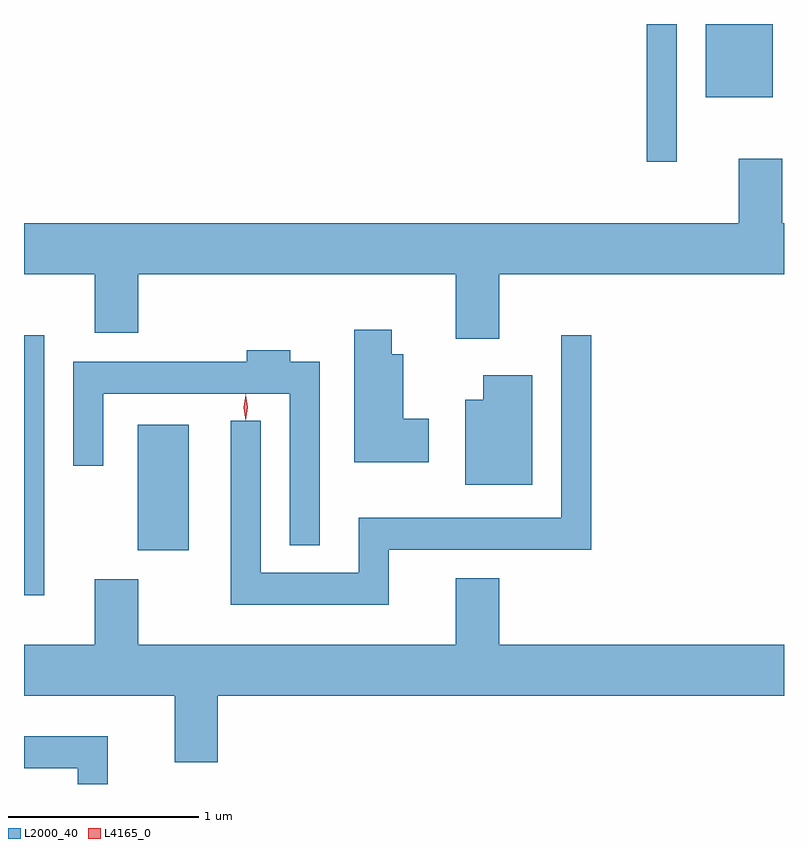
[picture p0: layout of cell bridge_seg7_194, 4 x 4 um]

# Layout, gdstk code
import gdstk
lib = gdstk.Library(unit=1e-6, precision=1e-09)
def R(c, l, rs):  # rectangles x0, y0, x1, y1
    for r in rs: c.add(gdstk.rectangle(r[:2], r[2:], *l))
def P(c, l, *ps):  # polygons
    for p in ps: c.add(gdstk.Polygon(p, *l))
L2000_40 = (2000, 40)
L4165_0 = (4165, 0)

bridge_seg7_194 = lib.new_cell('bridge_seg7_194')
R(bridge_seg7_194, L2000_40, [(1500.418,1701.526,1500.524,1702.893), (1501.016,1701.761,1501.284,1702.424), (1503.696,1703.808,1503.854,1704.532), (1504.006,1704.146,1504.359,1704.532)])
P(bridge_seg7_194, L2000_40, [(1502.919,1703.216),(1504.418,1703.216),(1504.418,1703.484),(1504.409,1703.484),(1504.409,1703.824),(1504.181,1703.824),(1504.181,1703.484),(1500.418,1703.484),(1500.418,1703.216),(1500.791,1703.216),(1500.791,1702.906),(1501.019,1702.906),(1501.019,1703.216),(1502.691,1703.216),(1502.691,1702.876),(1502.919,1702.876)],
  [(1502.549,1702.454),(1502.414,1702.454),(1502.414,1702.794),(1502.354,1702.794),(1502.354,1702.924),(1502.156,1702.924),(1502.156,1702.226),(1502.549,1702.226)],
  [(1502.339,1701.766),(1503.404,1701.766),(1503.404,1702.893),(1503.246,1702.893),(1503.246,1701.934),(1502.181,1701.934),(1502.181,1701.644),(1501.664,1701.644),(1501.664,1702.443),(1501.506,1702.443),(1501.506,1701.476),(1502.339,1701.476)],
  [(1501.974,1702.754),(1501.819,1702.754),(1501.819,1702.814),(1501.591,1702.814),(1501.591,1702.754),(1500.676,1702.754),(1500.676,1702.208),(1500.834,1702.208),(1500.834,1702.586),(1501.816,1702.586),(1501.816,1701.788),(1501.974,1701.788)],
  [(1503.094,1702.684),(1502.836,1702.684),(1502.836,1702.554),(1502.741,1702.554),(1502.741,1702.106),(1503.094,1702.106)],
  [(1501.439,1700.996),(1504.418,1700.996),(1504.418,1701.264),(1502.919,1701.264),(1502.919,1701.614),(1502.691,1701.614),(1502.691,1701.264),(1501.019,1701.264),(1501.019,1701.609),(1500.791,1701.609),(1500.791,1701.264),(1500.418,1701.264),(1500.418,1700.996),(1501.211,1700.996),(1501.211,1700.646),(1501.439,1700.646)],
  [(1500.859,1700.784),(1500.418,1700.784),(1500.418,1700.616),(1500.701,1700.616),(1500.701,1700.532),(1500.859,1700.532)])
P(bridge_seg7_194, L4165_0, [(1501.584,1702.444),(1501.584,1702.444),(1501.574,1702.513),(1501.584,1702.582),(1501.584,1702.583),(1501.585,1702.582),(1501.594,1702.513),(1501.585,1702.444)],
  [(1501.585,1702.447),(1501.585,1702.447),(1501.575,1702.514),(1501.585,1702.58),(1501.586,1702.58),(1501.586,1702.58),(1501.595,1702.514),(1501.586,1702.447)])

lib.write_gds('bridge_seg7_194.gds')
